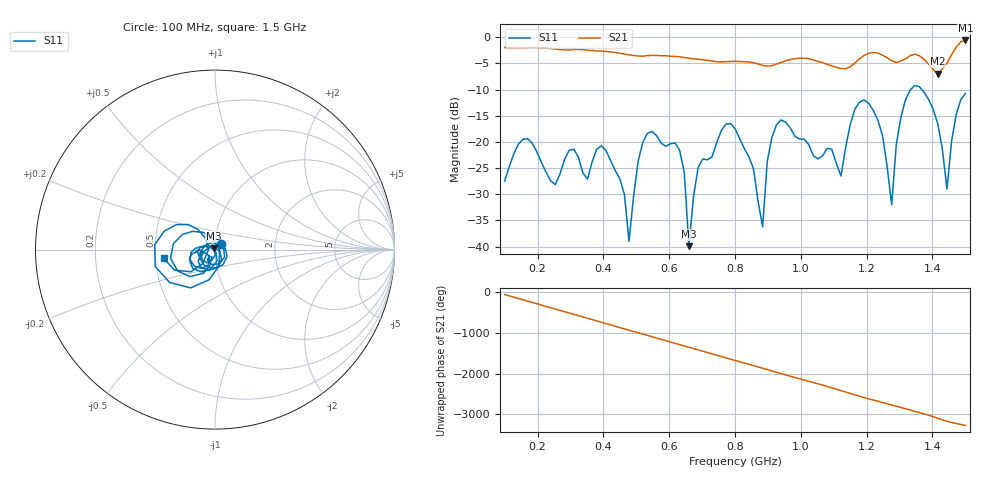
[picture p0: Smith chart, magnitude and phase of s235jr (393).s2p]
! NanoVNA-App
! Date: 2025-09-25 15:07:13
! Start: 100MHz Stop: 1,5GHz Points: 101
! S-Parameter data: F S11 S21 S12 S22
# Hz S RI R 50
!  Frequency  S11_Real  S11_Imag  S21_Real  S21_Imag  S12_Real  S12_Imag  S22_Real  S22_Imag
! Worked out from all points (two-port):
!   101 points, 100 MHz to 1.5 GHz, reference 50 ohm
!   highest |S21| = -0.62 dB at 1.5 GHz (marker M1); lowest = -7.0 dB at 1.416 GHz (marker M2)
!   |S21| within 3 dB of the highest: start of sweep to 519.3 MHz; 520.3 MHz to 602.4 MHz (82.12 MHz wide, 14.6 % of centre) (the widest 2 of 5)
!   lowest |S11| = -39.9 dB at 660 MHz (marker M3), VSWR 1.02, Z = 49.2 + j0.641 ohm
!   |S11| at or under -10 dB: start of sweep to 1.334 GHz; 1.368 GHz to end of sweep
!   S12 and S22 are empty: the file has one direction only
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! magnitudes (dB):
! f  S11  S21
! 100 MHz  -27.5  -2.0
! 170 MHz  -19.4  -2.0
! 338 MHz  -25.9  -2.4
! 408 MHz  -21.6  -2.7
! 478 MHz  -39.0  -3.4
! 520 MHz  -20.1  -3.6
! 576 MHz  -20.3  -3.5
! 632 MHz  -21.6  -3.7
! 660 MHz  -39.9  -4.0
! 688 MHz  -24.9  -4.2
! 800 MHz  -17.4  -4.6
! 884 MHz  -36.2  -5.4
! 926 MHz  -16.7  -5.1
! 1.038 GHz  -22.6  -4.3
! 1.122 GHz  -26.5  -6.0
! 1.192 GHz  -12.0  -3.5
! 1.248 GHz  -18.7  -3.4
! 1.276 GHz  -32.0  -4.5
! 1.332 GHz  -10.1  -3.5
! 1.416 GHz  -16.5  -7.0
! 1.444 GHz  -29.0  -5.0
! 1.5 GHz  -10.8  -0.6
